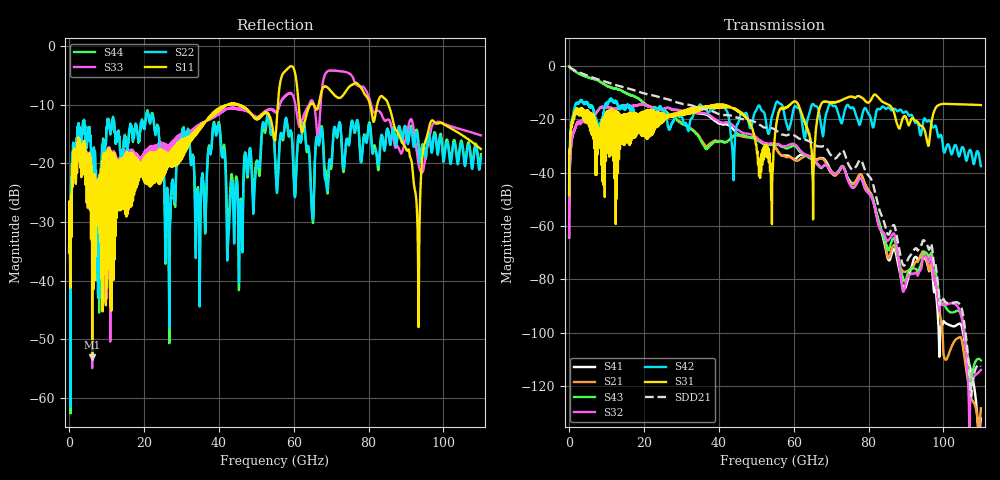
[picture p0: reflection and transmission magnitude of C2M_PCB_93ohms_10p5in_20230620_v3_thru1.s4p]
! Info: Touchstone file created by Circ.  Input file=C2M_PCB_93ohms_10p5in_20230620_v3.circ
# Hz S RI R 50
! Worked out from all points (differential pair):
!   11000 points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, 10 MHz to 110 GHz, reference 50 ohm
!   strongest paths, dB at 10 MHz, 27.51 GHz, 55.01 GHz, 82.51 GHz, 110 GHz:
!     S31: -48.5, -19.0, -25.6, -11.7, -14.7
!     S42: -48.3, -21.6, -15.0, -16.1, -37.6
!     S32: -64.2, -16.3, -29.2, -58.9, -113.9
!     S43: -0.2, -19.1, -29.5, -56.9, -110.3
!     S21: -0.2, -18.8, -30.2, -58.7, -128.3
!     S41: -64.2, -16.4, -30.3, -57.8, -132.1
!   taken as a pair (ports 3,1 in; 4,2 out), SDD21 dB: -0.2, -13.1, -23.8, -52.1, -112.6
!   lowest |S11| = -53.0 dB at 6.17 GHz (marker M1), VSWR 1.00, Z = 50.1 - j0.194 ohm
!   |S11| at or under -10 dB: start of sweep to 42.38 GHz; 45.21 GHz to 55.75 GHz (10.54 GHz wide, 20.9 % of centre); 85.29 GHz to end of sweep (the widest 3 of 9)
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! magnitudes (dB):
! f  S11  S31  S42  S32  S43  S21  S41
! 10 MHz  -35.2  -48.5  -48.3  -64.2  -0.2  -0.2  -64.2
! 6.17 GHz  -53.0  -24.1  -15.8  -19.4  -4.7  -4.7  -19.4
! 53.99 GHz  -12.7  -50.3  -20.3  -29.0  -29.5  -29.4  -29.5
! 60.11 GHz  -4.0  -13.4  -15.5  -29.3  -30.0  -35.2  -35.1
! 65.11 GHz  -9.8  -43.5  -14.3  -35.0  -35.4  -35.0  -34.7
! 68.04 GHz  -6.9  -13.5  -24.4  -37.4  -37.4  -35.2  -34.8
! 110 GHz  -17.6  -14.7  -37.6  -113.9  -110.3  -128.3  -132.1
